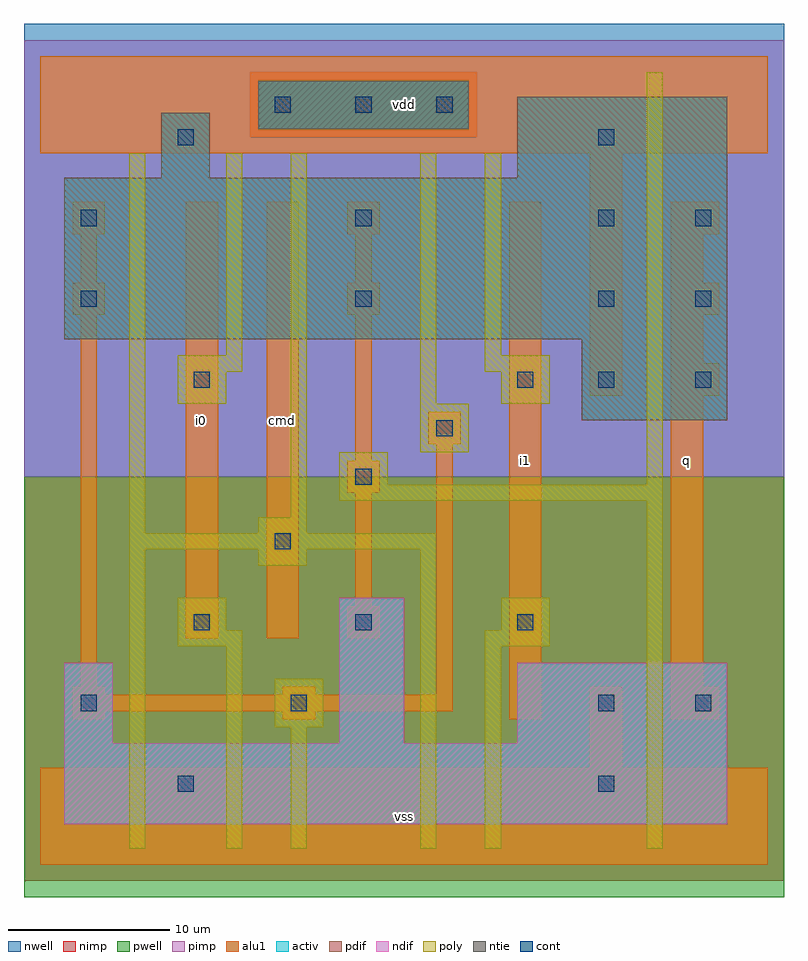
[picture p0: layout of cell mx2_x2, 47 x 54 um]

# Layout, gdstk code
import gdstk
lib = gdstk.Library(unit=1e-6, precision=1e-09)
def R(c, l, rs):  # rectangles x0, y0, x1, y1
    for r in rs: c.add(gdstk.rectangle(r[:2], r[2:], *l))
def A(c, l, x, y, w, h, nx, ny, dx, dy):  # array of equal rectangles
    R(c, l, [(x+i*dx, y+j*dy, x+i*dx+w, y+j*dy+h) for i in range(nx) for j in range(ny)])
ndif = (3, 0)
pdif = (4, 0)
ntie = (5, 0)
cont = (25, 0)
pwell = (41, 0)
nwell = (42, 0)
activ = (43, 0)
pimp = (44, 0)
nimp = (45, 0)
poly = (46, 0)
alu1 = (49, 0)

mx2_x2 = lib.new_cell('mx2_x2')
R(mx2_x2, ndif, [(1.5,2.5,42.5,7.5), (1.5,7.5,4.5,12.5), (18.5,7.5,22.5,16.5), (29.5,7.5,42.5,12.5)])
R(mx2_x2, pdif, [(33.5,27.5,42.5,32.5), (1.5,32.5,42.5,42.5), (7.5,42.5,10.5,46.5), (29.5,42.5,42.5,47.5)])
R(mx2_x2, ntie, [(13.5,45.5,26.5,48.5)])
A(mx2_x2, cont, 9.5, 14.5, 1, 1, 3, 1, 10, 0)
A(mx2_x2, cont, 34.5, 29.5, 1, 1, 1, 4, 0, 5)
A(mx2_x2, cont, 40.5, 29.5, 1, 1, 1, 3, 0, 5)
A(mx2_x2, cont, 14.5, 46.5, 1, 1, 3, 1, 5, 0)
R(mx2_x2, cont, [(8.5,4.5,9.5,5.5), (34.5,4.5,35.5,5.5), (2.5,9.5,3.5,10.5), (15.5,9.5,16.5,10.5), (34.5,9.5,35.5,10.5), (40.5,9.5,41.5,10.5), (14.5,19.5,15.5,20.5), (19.5,23.5,20.5,24.5), (24.5,26.5,25.5,27.5), (9.5,29.5,10.5,30.5), (29.5,29.5,30.5,30.5), (2.5,34.5,3.5,35.5), (19.5,34.5,20.5,35.5), (2.5,39.5,3.5,40.5), (19.5,39.5,20.5,40.5), (8.5,44.5,9.5,45.5)])
R(mx2_x2, pwell, [(-1,-2,46,24)])
R(mx2_x2, nwell, [(-1,24,46,52)])
R(mx2_x2, activ, [(1.5,2.5,42.5,7.5), (1.5,7.5,4.5,12.5), (18.5,7.5,22.5,16.5), (29.5,7.5,42.5,12.5), (33.5,27.5,42.5,32.5), (1.5,32.5,42.5,42.5), (7.5,42.5,10.5,46.5), (29.5,42.5,42.5,47.5), (13.5,45.5,26.5,48.5)])
R(mx2_x2, pimp, [(-1,24,46,45), (-1,45,13,49), (27,45,46,49), (-1,49,46,51)])
R(mx2_x2, nimp, [(-1,-1,46,24), (13,45,27,49)])
R(mx2_x2, poly, [(5.5,1,6.5,19.5), (11.5,1,12.5,13.5), (15.5,1,16.5,8.5), (23.5,1,24.5,19.5), (27.5,1,28.5,13.5), (37.5,1,38.5,22.5), (14.5,8.5,17.5,11.5), (8.5,13.5,12.5,14.5), (27.5,13.5,31.5,14.5), (8.5,14.5,11.5,16.5), (28.5,14.5,31.5,16.5), (13.5,18.5,16.5,19.5), (5.5,19.5,24.5,20.5), (5.5,20.5,6.5,44), (13.5,20.5,16.5,21.5), (15.5,21.5,16.5,44), (18.5,22.5,38.5,23.5), (18.5,23.5,21.5,25.5), (37.5,23.5,38.5,49), (23.5,25.5,26.5,28.5), (8.5,28.5,11.5,30.5), (23.5,28.5,24.5,44), (28.5,28.5,31.5,30.5), (8.5,30.5,12.5,31.5), (27.5,30.5,31.5,31.5), (11.5,31.5,12.5,44), (27.5,31.5,28.5,44)])
A(mx2_x2, alu1, 39, 29, 3, 2, 1, 3, 0, 5)
R(mx2_x2, alu1, [(0,0,45,6), (34,6,36,11), (2,9,4,9.5), (15,9,17,9.5), (29,9,31,41), (39,9,42,11), (2,9.5,25.5,10.5), (2,10.5,4,11), (15,10.5,17,11), (24.5,10.5,25.5,26), (2.5,11,3.5,34), (39,11,41,29), (9,14,11,41), (14,14,16,41), (19,14,21,16), (19.5,16,20.5,23), (19,23,21,25), (19.5,25,20.5,34), (24,26,26,28), (34,29,36,44), (39,31,41,34), (2,34,4,36), (19,34,21,36), (2.5,36,3.5,39), (19.5,36,20.5,39), (39,36,41,39), (2,39,4,41), (19,39,21,41), (0,44,45,50)])
mx2_x2.add(gdstk.Label('cmd', (15,27.5), layer=49, texttype=0))
mx2_x2.add(gdstk.Label('i0', (10,27.5), layer=49, texttype=0))
mx2_x2.add(gdstk.Label('vss', (22.5,3), layer=49, texttype=0))
mx2_x2.add(gdstk.Label('i1', (30,25), layer=49, texttype=0))
mx2_x2.add(gdstk.Label('vdd', (22.5,47), layer=49, texttype=0))
mx2_x2.add(gdstk.Label('q', (40,25), layer=49, texttype=0))

lib.write_gds('mx2_x2.gds')
